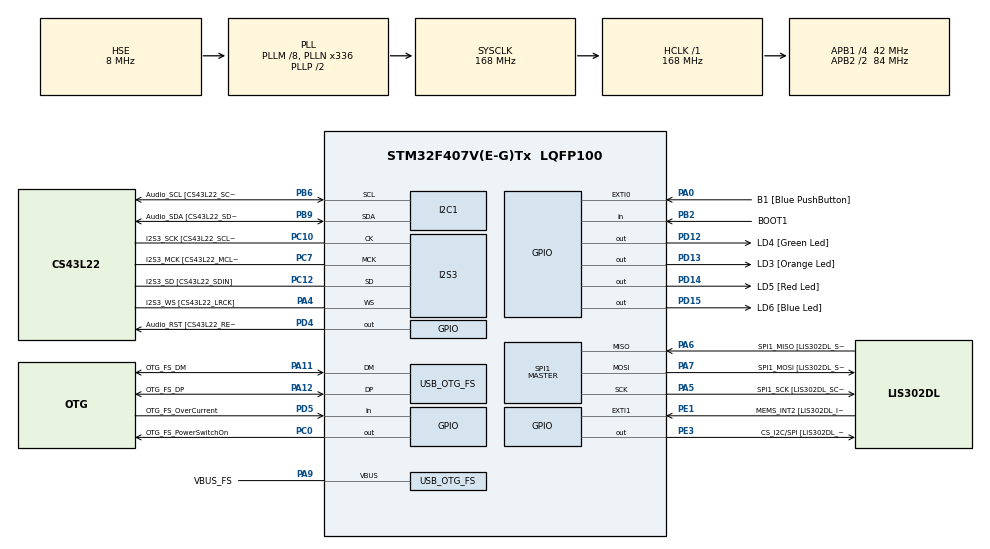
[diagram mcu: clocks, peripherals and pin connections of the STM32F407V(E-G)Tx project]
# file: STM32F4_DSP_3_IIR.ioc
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Dma.Request0=SPI3_TX
Dma.SPI3_TX.0.Direction=DMA_MEMORY_TO_PERIPH
Dma.SPI3_TX.0.FIFOMode=DMA_FIFOMODE_DISABLE
Dma.SPI3_TX.0.Instance=DMA1_Stream5
Dma.SPI3_TX.0.MemDataAlignment=DMA_MDATAALIGN_HALFWORD
Dma.SPI3_TX.0.MemInc=DMA_MINC_ENABLE
Dma.SPI3_TX.0.Mode=DMA_NORMAL
Dma.SPI3_TX.0.PeriphDataAlignment=DMA_PDATAALIGN_HALFWORD
Dma.SPI3_TX.0.PeriphInc=DMA_PINC_DISABLE
Dma.SPI3_TX.0.Priority=DMA_PRIORITY_LOW
I2S3.AudioFreq-Half_Duplex_Master=I2S_AUDIOFREQ_96K
I2S3.ErrorAudioFreq=-2.34 %
I2S3.ErrorAudioFreq-Half_Duplex_Master=0.8 %
I2S3.FullDuplexMode=I2S_FULLDUPLEXMODE_DISABLE
I2S3.Instance=SPI$Index
I2S3.RealAudioFreq=93.75 KHz
I2S3.RealAudioFreq-Half_Duplex_Master=96.774 KHz
I2S3.VirtualMode=I2S_MODE_MASTER
Mcu.Family=STM32F4
Mcu.Name=STM32F407V(E-G)Tx
Mcu.Package=LQFP100
NVIC.DMA1_Stream5_IRQn=true\:0\:0\:false\:false\:true\:false\:true\:true
NVIC.OTG_FS_IRQn=true\:0\:0\:false\:false\:true\:true\:true\:true
NVIC.PriorityGroup=NVIC_PRIORITYGROUP_0
PA0-WKUP.GPIO_Label=B1 [Blue PushButton]
PA0-WKUP.GPIO_ModeDefaultEXTI=GPIO_MODE_EVT_RISING
PA0-WKUP.GPIO_PuPd=GPIO_NOPULL
PA0-WKUP.Signal=GPXTI0
PA10.GPIO_Label=OTG_FS_ID
PA10.GPIO_Mode=GPIO_MODE_AF_PP
PA10.GPIO_PuPd=GPIO_NOPULL
PA10.GPIO_Speed=GPIO_SPEED_FREQ_LOW
PA10.Signal=USB_OTG_FS_ID
PA11.GPIO_Label=OTG_FS_DM
PA11.GPIO_Mode=GPIO_MODE_AF_PP
PA11.GPIO_PuPd=GPIO_NOPULL
PA11.GPIO_Speed=GPIO_SPEED_FREQ_LOW
PA11.Mode=Device_Only
PA11.Signal=USB_OTG_FS_DM
PA12.GPIO_Label=OTG_FS_DP
PA12.GPIO_Mode=GPIO_MODE_AF_PP
PA12.GPIO_PuPd=GPIO_NOPULL
PA12.GPIO_Speed=GPIO_SPEED_FREQ_LOW
PA12.Mode=Device_Only
PA12.Signal=USB_OTG_FS_DP
PA13.GPIO_Label=SWDIO
PA13.Mode=Serial_Wire
PA13.Signal=SYS_JTMS-SWDIO
PA14.GPIO_Label=SWCLK
PA14.Mode=Serial_Wire
PA14.Signal=SYS_JTCK-SWCLK
PA4.GPIO_Label=I2S3_WS [CS43L22_LRCK]
PA4.GPIO_Mode=GPIO_MODE_AF_PP
PA4.GPIO_PuPd=GPIO_NOPULL
PA4.GPIO_Speed=GPIO_SPEED_FREQ_LOW
PA4.Mode=Half_Duplex_Master
PA4.Signal=I2S3_WS
PA5.GPIO_Label=SPI1_SCK [LIS302DL_SCL/SPC]
PA5.GPIO_Mode=GPIO_MODE_AF_PP
PA5.GPIO_PuPd=GPIO_NOPULL
PA5.GPIO_Speed=GPIO_SPEED_FREQ_LOW
PA5.Mode=Full_Duplex_Master
PA5.Signal=SPI1_SCK
PA6.GPIO_Label=SPI1_MISO [LIS302DL_SDO]
PA6.GPIO_Mode=GPIO_MODE_AF_PP
PA6.GPIO_PuPd=GPIO_NOPULL
PA6.GPIO_Speed=GPIO_SPEED_FREQ_LOW
PA6.Mode=Full_Duplex_Master
PA6.Signal=SPI1_MISO
PA7.GPIO_Label=SPI1_MOSI [LIS302DL_SDA/SDI/SDO]
PA7.GPIO_Mode=GPIO_MODE_AF_PP
PA7.GPIO_PuPd=GPIO_NOPULL
PA7.GPIO_Speed=GPIO_SPEED_FREQ_LOW
PA7.Mode=Full_Duplex_Master
PA7.Signal=SPI1_MOSI
PA9.GPIO_Label=VBUS_FS
PA9.GPIO_Mode=GPIO_MODE_INPUT
PA9.GPIO_PuPd=GPIO_NOPULL
PA9.Mode=Activate_VBUS
PA9.Signal=USB_OTG_FS_VBUS
PB10.GPIO_Label=CLK_IN [MP45DT02_CLK]
PB10.GPIO_Mode=GPIO_MODE_AF_PP
PB10.GPIO_PuPd=GPIO_NOPULL
PB10.GPIO_Speed=GPIO_SPEED_FREQ_LOW
PB10.Signal=I2S2_CK
PB2.GPIO_Label=BOOT1
PB2.GPIO_Mode=GPIO_MODE_INPUT
PB2.GPIO_PuPd=GPIO_NOPULL
PB2.Signal=GPIO_Input
PB3.GPIO_Label=SWO
PB3.Signal=SYS_JTDO-SWO
PB6.GPIO_Label=Audio_SCL [CS43L22_SCL]
PB6.GPIO_Mode=GPIO_MODE_AF_OD
PB6.GPIO_Pu=GPIO_PULLUP
PB6.GPIO_PuPd=GPIO_NOPULL
PB6.GPIO_Speed=GPIO_SPEED_FREQ_LOW
PB6.Mode=I2C
PB6.Signal=I2C1_SCL
PB9.GPIO_Label=Audio_SDA [CS43L22_SDA]
PB9.GPIO_Mode=GPIO_MODE_AF_OD
PB9.GPIO_Pu=GPIO_PULLUP
PB9.GPIO_PuPd=GPIO_NOPULL
PB9.GPIO_Speed=GPIO_SPEED_FREQ_LOW
PB9.Mode=I2C
PB9.Signal=I2C1_SDA
PC0.GPIO_Label=OTG_FS_PowerSwitchOn
PC0.GPIO_PuPd=GPIO_NOPULL
PC0.GPIO_Speed=GPIO_SPEED_FREQ_LOW
PC0.PinState=GPIO_PIN_SET
PC0.Signal=GPIO_Output
PC10.GPIO_Label=I2S3_SCK [CS43L22_SCLK]
PC10.GPIO_Mode=GPIO_MODE_AF_PP
PC10.GPIO_PuPd=GPIO_NOPULL
PC10.GPIO_Speed=GPIO_SPEED_FREQ_LOW
PC10.Mode=Half_Duplex_Master
PC10.Signal=I2S3_CK
PC12.GPIO_Label=I2S3_SD [CS43L22_SDIN]
PC12.GPIO_Mode=GPIO_MODE_AF_PP
PC12.GPIO_PuPd=GPIO_NOPULL
PC12.GPIO_Speed=GPIO_SPEED_FREQ_LOW
PC12.Mode=Half_Duplex_Master
PC12.Signal=I2S3_SD
PC14-OSC32_IN.GPIO_Label=PC14-OSC32_IN
PC14-OSC32_IN.Mode=LSE-External-Oscillator
PC14-OSC32_IN.Signal=RCC_OSC32_IN
PC15-OSC32_OUT.GPIO_Label=PC15-OSC32_OUT
PC15-OSC32_OUT.Mode=LSE-External-Oscillator
PC15-OSC32_OUT.Signal=RCC_OSC32_OUT
PC3.GPIO_Label=PDM_OUT [MP45DT02_DOUT]
PC3.GPIO_Mode=GPIO_MODE_AF_PP
PC3.GPIO_PuPd=GPIO_NOPULL
PC3.GPIO_Speed=GPIO_SPEED_FREQ_LOW
PC3.Signal=I2S2_SD
PC7.GPIO_Label=I2S3_MCK [CS43L22_MCLK]
PC7.GPIO_Mode=GPIO_MODE_AF_PP
PC7.GPIO_PuPd=GPIO_NOPULL
PC7.GPIO_Speed=GPIO_SPEED_FREQ_LOW
PC7.Mode=Master_Clock_Activated
PC7.Signal=I2S3_MCK
PD12.GPIO_Label=LD4 [Green Led]
PD12.GPIO_PuPd=GPIO_NOPULL
PD12.GPIO_Speed=GPIO_SPEED_FREQ_LOW
PD12.Signal=GPIO_Output
PD13.GPIO_Label=LD3 [Orange Led]
PD13.GPIO_PuPd=GPIO_NOPULL
PD13.GPIO_Speed=GPIO_SPEED_FREQ_LOW
PD13.Signal=GPIO_Output
PD14.GPIO_Label=LD5 [Red Led]
PD14.GPIO_PuPd=GPIO_NOPULL
PD14.GPIO_Speed=GPIO_SPEED_FREQ_LOW
PD14.Signal=GPIO_Output
PD15.GPIO_Label=LD6 [Blue Led]
PD15.GPIO_PuPd=GPIO_NOPULL
PD15.GPIO_Speed=GPIO_SPEED_FREQ_LOW
PD15.Signal=GPIO_Output
PD4.GPIO_Label=Audio_RST [CS43L22_RESET]
PD4.GPIO_PuPd=GPIO_NOPULL
PD4.GPIO_Speed=GPIO_SPEED_FREQ_LOW
PD4.Signal=GPIO_Output
PD5.GPIO_Label=OTG_FS_OverCurrent
PD5.GPIO_Mode=GPIO_MODE_INPUT
PD5.GPIO_PuPd=GPIO_NOPULL
PD5.Signal=GPIO_Input
PE1.GPIO_Label=MEMS_INT2 [LIS302DL_INT2]
PE1.GPIO_ModeDefaultEXTI=GPIO_MODE_EVT_RISING
PE1.GPIO_PuPd=GPIO_NOPULL
PE1.Signal=GPXTI1
PE3.GPIO_Label=CS_I2C/SPI [LIS302DL_CS_I2C/SPI]
PE3.GPIO_PuPd=GPIO_NOPULL
PE3.GPIO_Speed=GPIO_SPEED_FREQ_LOW
PE3.Signal=GPIO_Output
PH0-OSC_IN.GPIO_Label=PH0-OSC_IN
PH0-OSC_IN.Mode=HSE-External-Oscillator
PH0-OSC_IN.Signal=RCC_OSC_IN
PH1-OSC_OUT.GPIO_Label=PH1-OSC_OUT
PH1-OSC_OUT.Mode=HSE-External-Oscillator
PH1-OSC_OUT.Signal=RCC_OSC_OUT
ProjectManager.HeapSize=0x200
ProjectManager.StackSize=0x400
ProjectManager.TargetToolchain=STM32CubeIDE
RCC.48MHZClocksFreq_Value=48000000
RCC.AHBFreq_Value=168000000
RCC.APB1CLKDivider=RCC_HCLK_DIV4
RCC.APB1Freq_Value=42000000
RCC.APB1TimFreq_Value=84000000
RCC.APB2CLKDivider=RCC_HCLK_DIV2
RCC.APB2Freq_Value=84000000
RCC.APB2TimFreq_Value=168000000
RCC.CortexFreq_Value=168000000
RCC.HCLKFreq_Value=168000000
RCC.HSE_VALUE=8000000
RCC.HSI_VALUE=16000000
RCC.PLLM=8
RCC.PLLN=336
RCC.PLLQ=7
RCC.SYSCLKFreq_VALUE=168000000
RCC.SYSCLKSource=RCC_SYSCLKSOURCE_PLLCLK
RCC.VCOOutputFreq_Value=336000000
SPI1.BaudRatePrescaler-Full_Duplex_Master=SPI_BAUDRATEPRESCALER_2
SPI1.CalculateBaudRate-Full_Duplex_Master=42.0 MBits/s
SPI1.Direction=SPI_DIRECTION_2LINES
SPI1.Mode=SPI_MODE_MASTER
SPI1.Mode-Full_Duplex_Master=SPI_MODE_MASTER
SPI1.VirtualType=VM_MASTER
USB_DEVICE.CLASS_NAME_FS=CDC
USB_DEVICE.VirtualMode-CDC_FS=Cdc
USB_DEVICE.VirtualModeFS=Cdc_FS
USB_OTG_FS.VirtualMode=Device_Only
VP_CRC_VS_CRC.Mode=CRC_Activate
VP_PDM2PCM_VS_PDM2PCM.Mode=PDM2PCM_Channel
VP_USB_DEVICE_VS_USB_DEVICE_CDC_FS.Mode=CDC_FS
board=STM32F407G-DISC1

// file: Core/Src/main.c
/* USER CODE BEGIN Header */
/**
  ******************************************************************************
  * @file           : main.c
  * @brief          : Main program body
  ******************************************************************************
  * @attention
  *
  * Copyright (c) 2023 STMicroelectronics.
  * All rights reserved.
  *
  * This software is licensed under terms that can be found in the LICENSE file
  * in the root directory of this software component.
  * If no LICENSE file comes with this software, it is provided AS-IS.
  *
  ******************************************************************************
  */
/* USER CODE END Header */
#include "main.h"
#include "pdm2pcm.h"
#include "usb_device.h"

/* USER CODE BEGIN Includes */
#include "arm_math.h"
#include "stm32f4_discovery_audio.h"

/* USER CODE END Includes */

/* USER CODE BEGIN PD */
#define SAMPLING_FREQ 8000.0	//BSP_audio_out sampling frequency

#define TEST_LENGTH_SAMPLES	256
#define BLOCKSIZE 	32
#define NUMBLOCKS  	(TEST_LENGTH_SAMPLES/BLOCKSIZE)

//#define NUM_SECTIONS	2		//number of 2nd order stages in the filter

#define NUM_SECTIONS 4

/* USER CODE END PD */

CRC_HandleTypeDef hcrc;

I2C_HandleTypeDef hi2c1;

I2S_HandleTypeDef hi2s3;
DMA_HandleTypeDef hdma_spi3_tx;

SPI_HandleTypeDef hspi1;

/* USER CODE BEGIN PV */
static int16_t OutputBuffer[TEST_LENGTH_SAMPLES*2];	//Output, left+right channels
static int16_t random_temp;

	//IIR related PV
static float32_t testInput_f32[TEST_LENGTH_SAMPLES];	//IIR input signal buffer
static float32_t testOutput_f32[TEST_LENGTH_SAMPLES];	//IIR output signal buffer
float32_t *inputF32 = &testInput_f32[0];
float32_t *outputF32 = &testOutput_f32[0];

float32_t coeffs[5*NUM_SECTIONS] = {0};
float32_t state[4*NUM_SECTIONS] = {0};

	//IIR filter coeffs
//float b[NUM_SECTIONS][3] = {
//{1.27854304E-01, 2.55708609E-01, 1.27854304E-01},
//{3.04659786E-02, 6.09319571E-02, 3.04659786E-02} };
//
//float a[NUM_SECTIONS][3] = {
//{1.00000000E+00, -1.34913555E+00, 8.60552772E-01},
//{1.00000000E+00, -1.54190232E+00, 6.63766234E-01} };

float b[NUM_SECTIONS][3] = {
{1.66790712E-01, -3.33581424E-01, 1.66790712E-01},
{1.33825671E-01, -2.67651342E-01, 1.33825671E-01},
{1.16241827E-01, -2.32483653E-01, 1.16241827E-01},
{1.08524666E-01, -2.17049332E-01, 1.08524666E-01} };

float a[NUM_SECTIONS][3] = {
{1.00000000E+00, 1.06621340E+00, 7.33376244E-01},
{1.00000000E+00, 8.55483628E-01, 3.90786313E-01},
{1.00000000E+00, 7.43078504E-01, 2.08045810E-01},
{1.00000000E+00, 6.93746382E-01, 1.27845047E-01} };

/* USER CODE END PV */

void SystemClock_Config(void);
static void MX_GPIO_Init(void);
static void MX_DMA_Init(void);
static void MX_I2C1_Init(void);
static void MX_I2S3_Init(void);
static void MX_SPI1_Init(void);
static void MX_CRC_Init(void);

int main(void)
{
  /* USER CODE BEGIN 1 */
		//--- IIR structure ---
		arm_biquad_casd_df1_inst_f32 S;

		//--- write IIR coeffs to the CMSIS compatible array
		uint16_t i,k=0;
		for (i=0; i<NUM_SECTIONS ; i++)
		{
			coeffs[k++] = b[i][0];
			coeffs[k++] = b[i][1];
			coeffs[k++] = b[i][2];
			coeffs[k++] = -a[i][1];
			coeffs[k++] = -a[i][2];
		}

  /* USER CODE END 1 */

  /* MCU Configuration--------------------------------------------------------*/

  /* Reset of all peripherals, Initializes the Flash interface and the Systick. */
  HAL_Init();

  /* Configure the system clock */
  SystemClock_Config();

  /* Initialize all configured peripherals */
  MX_GPIO_Init();
  MX_DMA_Init();
  MX_I2C1_Init();
  MX_I2S3_Init();
  MX_SPI1_Init();
  MX_CRC_Init();
  MX_PDM2PCM_Init();
  MX_USB_DEVICE_Init();
  /* USER CODE BEGIN 2 */

  	  	//--- Call IIR init function
    	arm_biquad_cascade_df1_init_f32(&S, NUM_SECTIONS, &(coeffs[0]), &(state[0]));

    	/*** Initialize the Audio codec (I2S, I2C, IOExpander, IOs...) ***/
    	if(BSP_AUDIO_OUT_Init(OUTPUT_DEVICE_AUTO, 80, SAMPLING_FREQ) != AUDIO_OK)
    	{
    		Error_Handler();
    	}

    	/*** Test Signal generation ***/
    	for(int index = 0; index < TEST_LENGTH_SAMPLES; index++)
    	{
    	  	//Test signal 1000 Hz + 2000 Hz + 3000 Hz
    	   	//testInput_f32[index] = ( 30000*sin(32*2*PI*index/TEST_LENGTH_SAMPLES) + 20000*sin(64*2*PI*index/TEST_LENGTH_SAMPLES) + 15000*sin(96*2*PI*index/TEST_LENGTH_SAMPLES));
    	}

    	for(int index = 0; index < TEST_LENGTH_SAMPLES; index++)
    	{
    		// vienetinis impulsas
    	    if (index == 10) {
    	    	testInput_f32[index] = 20000;
    	    } else {
    	    	testInput_f32[index] = 0;
    	    }
    	}

    	/*** Perform IIR filtering operation ***/
    	for (k=0; k < NUMBLOCKS; k++)
    	{
    		arm_biquad_cascade_df1_f32 (&S, inputF32 + (k*BLOCKSIZE), outputF32 + (k*BLOCKSIZE), BLOCKSIZE);
    	}

    	/*** Fill Output Buffer ***/
    	for(int i = 0; i < TEST_LENGTH_SAMPLES; i++)
    	{
    		OutputBuffer[i<<1] = (int16_t)testInput_f32[i];
    	    OutputBuffer[(i<<1)+1] = (int16_t)testOutput_f32[i];
    	}

    	/*** Start Audio play ***/
    	BSP_AUDIO_OUT_Play((uint16_t*)&OutputBuffer[0], TEST_LENGTH_SAMPLES*2);

  /* USER CODE END 2 */

  /* Infinite loop */
  /* USER CODE BEGIN WHILE */
  while (1)
  {
	  HAL_GPIO_TogglePin(LD4_GPIO_Port, LD4_Pin);
	  HAL_Delay(250);
    /* USER CODE END WHILE */

  }
}

void SystemClock_Config(void)
{
  RCC_OscInitTypeDef RCC_OscInitStruct = {0};
  RCC_ClkInitTypeDef RCC_ClkInitStruct = {0};

  /** Configure the main internal regulator output voltage
  */
  __HAL_RCC_PWR_CLK_ENABLE();
  __HAL_PWR_VOLTAGESCALING_CONFIG(PWR_REGULATOR_VOLTAGE_SCALE1);

  /** Initializes the RCC Oscillators according to the specified parameters
  * in the RCC_OscInitTypeDef structure.
  */
  RCC_OscInitStruct.OscillatorType = RCC_OSCILLATORTYPE_HSE;
  RCC_OscInitStruct.HSEState = RCC_HSE_ON;
  RCC_OscInitStruct.PLL.PLLState = RCC_PLL_ON;
  RCC_OscInitStruct.PLL.PLLSource = RCC_PLLSOURCE_HSE;
  RCC_OscInitStruct.PLL.PLLM = 8;
  RCC_OscInitStruct.PLL.PLLN = 336;
  RCC_OscInitStruct.PLL.PLLP = RCC_PLLP_DIV2;
  RCC_OscInitStruct.PLL.PLLQ = 7;
  if (HAL_RCC_OscConfig(&RCC_OscInitStruct) != HAL_OK)
  {
    Error_Handler();
  }

  /** Initializes the CPU, AHB and APB buses clocks
  */
  RCC_ClkInitStruct.ClockType = RCC_CLOCKTYPE_HCLK|RCC_CLOCKTYPE_SYSCLK
                              |RCC_CLOCKTYPE_PCLK1|RCC_CLOCKTYPE_PCLK2;
  RCC_ClkInitStruct.SYSCLKSource = RCC_SYSCLKSOURCE_PLLCLK;
  RCC_ClkInitStruct.AHBCLKDivider = RCC_SYSCLK_DIV1;
  RCC_ClkInitStruct.APB1CLKDivider = RCC_HCLK_DIV4;
  RCC_ClkInitStruct.APB2CLKDivider = RCC_HCLK_DIV2;

  if (HAL_RCC_ClockConfig(&RCC_ClkInitStruct, FLASH_LATENCY_5) != HAL_OK)
  {
    Error_Handler();
  }
}

static void MX_CRC_Init(void)
{

  hcrc.Instance = CRC;
  if (HAL_CRC_Init(&hcrc) != HAL_OK)
  {
    Error_Handler();
  }
  __HAL_CRC_DR_RESET(&hcrc);

}

static void MX_I2C1_Init(void)
{

  hi2c1.Instance = I2C1;
  hi2c1.Init.ClockSpeed = 100000;
  hi2c1.Init.DutyCycle = I2C_DUTYCYCLE_2;
  hi2c1.Init.OwnAddress1 = 0;
  hi2c1.Init.AddressingMode = I2C_ADDRESSINGMODE_7BIT;
  hi2c1.Init.DualAddressMode = I2C_DUALADDRESS_DISABLE;
  hi2c1.Init.OwnAddress2 = 0;
  hi2c1.Init.GeneralCallMode = I2C_GENERALCALL_DISABLE;
  hi2c1.Init.NoStretchMode = I2C_NOSTRETCH_DISABLE;
  if (HAL_I2C_Init(&hi2c1) != HAL_OK)
  {
    Error_Handler();
  }

}

static void MX_I2S3_Init(void)
{

  hi2s3.Instance = SPI3;
  hi2s3.Init.Mode = I2S_MODE_MASTER_TX;
  hi2s3.Init.Standard = I2S_STANDARD_PHILIPS;
  hi2s3.Init.DataFormat = I2S_DATAFORMAT_16B;
  hi2s3.Init.MCLKOutput = I2S_MCLKOUTPUT_ENABLE;
  hi2s3.Init.AudioFreq = I2S_AUDIOFREQ_96K;
  hi2s3.Init.CPOL = I2S_CPOL_LOW;
  hi2s3.Init.ClockSource = I2S_CLOCK_PLL;
  hi2s3.Init.FullDuplexMode = I2S_FULLDUPLEXMODE_DISABLE;
  if (HAL_I2S_Init(&hi2s3) != HAL_OK)
  {
    Error_Handler();
  }

}

static void MX_SPI1_Init(void)
{

  /* SPI1 parameter configuration*/
  hspi1.Instance = SPI1;
  hspi1.Init.Mode = SPI_MODE_MASTER;
  hspi1.Init.Direction = SPI_DIRECTION_2LINES;
  hspi1.Init.DataSize = SPI_DATASIZE_8BIT;
  hspi1.Init.CLKPolarity = SPI_POLARITY_LOW;
  hspi1.Init.CLKPhase = SPI_PHASE_1EDGE;
  hspi1.Init.NSS = SPI_NSS_SOFT;
  hspi1.Init.BaudRatePrescaler = SPI_BAUDRATEPRESCALER_2;
  hspi1.Init.FirstBit = SPI_FIRSTBIT_MSB;
  hspi1.Init.TIMode = SPI_TIMODE_DISABLE;
  hspi1.Init.CRCCalculation = SPI_CRCCALCULATION_DISABLE;
  hspi1.Init.CRCPolynomial = 10;
  if (HAL_SPI_Init(&hspi1) != HAL_OK)
  {
    Error_Handler();
  }

}

static void MX_DMA_Init(void)
{

  /* DMA controller clock enable */
  __HAL_RCC_DMA1_CLK_ENABLE();

  /* DMA interrupt init */
  /* DMA1_Stream5_IRQn interrupt configuration */
  HAL_NVIC_SetPriority(DMA1_Stream5_IRQn, 0, 0);
  HAL_NVIC_EnableIRQ(DMA1_Stream5_IRQn);

}

static void MX_GPIO_Init(void)
{
  GPIO_InitTypeDef GPIO_InitStruct = {0};

  /* GPIO Ports Clock Enable */
  __HAL_RCC_GPIOE_CLK_ENABLE();
  __HAL_RCC_GPIOC_CLK_ENABLE();
  __HAL_RCC_GPIOH_CLK_ENABLE();
  __HAL_RCC_GPIOA_CLK_ENABLE();
  __HAL_RCC_GPIOB_CLK_ENABLE();
  __HAL_RCC_GPIOD_CLK_ENABLE();

  /*Configure GPIO pin Output Level */
  HAL_GPIO_WritePin(CS_I2C_SPI_GPIO_Port, CS_I2C_SPI_Pin, GPIO_PIN_RESET);

  /*Configure GPIO pin Output Level */
  HAL_GPIO_WritePin(OTG_FS_PowerSwitchOn_GPIO_Port, OTG_FS_PowerSwitchOn_Pin, GPIO_PIN_SET);

  /*Configure GPIO pin Output Level */
  HAL_GPIO_WritePin(GPIOD, LD4_Pin|LD3_Pin|LD5_Pin|LD6_Pin
                          |Audio_RST_Pin, GPIO_PIN_RESET);

  /*Configure GPIO pin : CS_I2C_SPI_Pin */
  GPIO_InitStruct.Pin = CS_I2C_SPI_Pin;
  GPIO_InitStruct.Mode = GPIO_MODE_OUTPUT_PP;
  GPIO_InitStruct.Pull = GPIO_NOPULL;
  GPIO_InitStruct.Speed = GPIO_SPEED_FREQ_LOW;
  HAL_GPIO_Init(CS_I2C_SPI_GPIO_Port, &GPIO_InitStruct);

  /*Configure GPIO pin : OTG_FS_PowerSwitchOn_Pin */
  GPIO_InitStruct.Pin = OTG_FS_PowerSwitchOn_Pin;
  GPIO_InitStruct.Mode = GPIO_MODE_OUTPUT_PP;
  GPIO_InitStruct.Pull = GPIO_NOPULL;
  GPIO_InitStruct.Speed = GPIO_SPEED_FREQ_LOW;
  HAL_GPIO_Init(OTG_FS_PowerSwitchOn_GPIO_Port, &GPIO_InitStruct);

  /*Configure GPIO pin : PDM_OUT_Pin */
  GPIO_InitStruct.Pin = PDM_OUT_Pin;
  GPIO_InitStruct.Mode = GPIO_MODE_AF_PP;
  GPIO_InitStruct.Pull = GPIO_NOPULL;
  GPIO_InitStruct.Speed = GPIO_SPEED_FREQ_LOW;
  GPIO_InitStruct.Alternate = GPIO_AF5_SPI2;
  HAL_GPIO_Init(PDM_OUT_GPIO_Port, &GPIO_InitStruct);

  /*Configure GPIO pin : B1_Pin */
  GPIO_InitStruct.Pin = B1_Pin;
  GPIO_InitStruct.Mode = GPIO_MODE_EVT_RISING;
  GPIO_InitStruct.Pull = GPIO_NOPULL;
  HAL_GPIO_Init(B1_GPIO_Port, &GPIO_InitStruct);

  /*Configure GPIO pin : BOOT1_Pin */
  GPIO_InitStruct.Pin = BOOT1_Pin;
  GPIO_InitStruct.Mode = GPIO_MODE_INPUT;
  GPIO_InitStruct.Pull = GPIO_NOPULL;
  HAL_GPIO_Init(BOOT1_GPIO_Port, &GPIO_InitStruct);

  /*Configure GPIO pin : CLK_IN_Pin */
  GPIO_InitStruct.Pin = CLK_IN_Pin;
  GPIO_InitStruct.Mode = GPIO_MODE_AF_PP;
  GPIO_InitStruct.Pull = GPIO_NOPULL;
  GPIO_InitStruct.Speed = GPIO_SPEED_FREQ_LOW;
  GPIO_InitStruct.Alternate = GPIO_AF5_SPI2;
  HAL_GPIO_Init(CLK_IN_GPIO_Port, &GPIO_InitStruct);

  /*Configure GPIO pins : LD4_Pin LD3_Pin LD5_Pin LD6_Pin
                           Audio_RST_Pin */
  GPIO_InitStruct.Pin = LD4_Pin|LD3_Pin|LD5_Pin|LD6_Pin
                          |Audio_RST_Pin;
  GPIO_InitStruct.Mode = GPIO_MODE_OUTPUT_PP;
  GPIO_InitStruct.Pull = GPIO_NOPULL;
  GPIO_InitStruct.Speed = GPIO_SPEED_FREQ_LOW;
  HAL_GPIO_Init(GPIOD, &GPIO_InitStruct);

  /*Configure GPIO pin : OTG_FS_OverCurrent_Pin */
  GPIO_InitStruct.Pin = OTG_FS_OverCurrent_Pin;
  GPIO_InitStruct.Mode = GPIO_MODE_INPUT;
  GPIO_InitStruct.Pull = GPIO_NOPULL;
  HAL_GPIO_Init(OTG_FS_OverCurrent_GPIO_Port, &GPIO_InitStruct);

  /*Configure GPIO pin : MEMS_INT2_Pin */
  GPIO_InitStruct.Pin = MEMS_INT2_Pin;
  GPIO_InitStruct.Mode = GPIO_MODE_EVT_RISING;
  GPIO_InitStruct.Pull = GPIO_NOPULL;
  HAL_GPIO_Init(MEMS_INT2_GPIO_Port, &GPIO_InitStruct);

}

/* USER CODE BEGIN 4 */

	/*** Back to Buffer beginning ***/
	void BSP_AUDIO_OUT_TransferComplete_CallBack(void)
	{
		BSP_AUDIO_OUT_ChangeBuffer((uint16_t*)&OutputBuffer[0], TEST_LENGTH_SAMPLES*2);
		HAL_GPIO_TogglePin(LD3_GPIO_Port, LD3_Pin);
	}

/* USER CODE END 4 */

void Error_Handler(void)
{
  /* USER CODE BEGIN Error_Handler_Debug */
  /* User can add his own implementation to report the HAL error return state */
	HAL_GPIO_WritePin(LD5_GPIO_Port, LD5_Pin, GPIO_PIN_SET);
  __disable_irq();
  while (1)
  {
  }
  /* USER CODE END Error_Handler_Debug */
}
